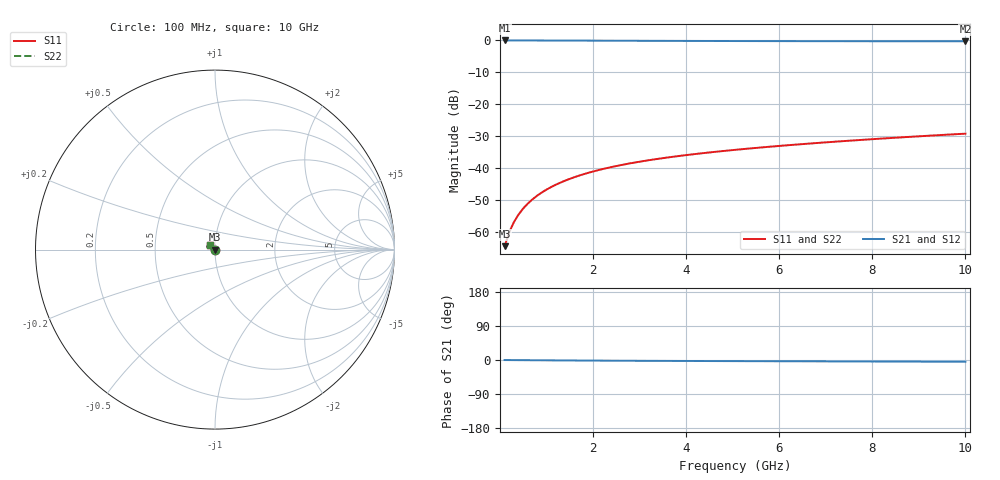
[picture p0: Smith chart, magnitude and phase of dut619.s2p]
! Touchstone file exported from HFSS 2024.1.0
!  File:  C:/UserFiles/LocalFiles/RDL_TSV_Batchsim/temp_TSV1_619_1779788965.aedt
!  Generated:  05:57:04 PM May 26, 2026
!  Design:  TSV1
!  Project:  temp_TSV1_619_1779788965
!  Setup:  Setup1
!  Solution:  Sweep
! Variables:
!  dtsv = 5.62um
!  hbump = 3um
!  htsv = 65.13um
!  lrdl = 252.1521522um
!  p = 40
!  p1 = 52.5um
!  t = 500um
!  trdl = 3um
!  wrdl = 24.89489489um
# GHz S MA R 50.000000
! Terminal data exported
! Port[1] = TSV22_T1
! Port[2] = TSV22_T2
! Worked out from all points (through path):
!   100 points, 100 MHz to 10 GHz, reference 50 ohm
!   highest |S21| = 0.00 dB at 100 MHz (marker M1); lowest = -0.3 dB at 10 GHz (marker M2)
!   lowest |S11| = -64.4 dB at 100 MHz (marker M3), VSWR 1.00, Z = 50 - j0.0479 ohm
!   |S11| at or under -10 dB: start of sweep to end of sweep
!   |S22| runs from -64.4 to -29.2 dB; largest |S21 - S12| = 2.3e-15
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0.1  0.0006044 -52.3  0.9996 -0.1  0.9996 -0.1  0.0006044 -52.3
! Gamma 0 0 0 0
! Port Impedance 50 0 50 0
0.2  0.001002 -72.5  0.9995 -0.2  0.9995 -0.2  0.001002 -72.5
0.3  0.001441 -82.4  0.9994 -0.3  0.9994 -0.3  0.001441 -82.4
0.4  0.001894 -88.8  0.9992 -0.4  0.9992 -0.4  0.001894 -88.8
0.5  0.002352 -93.6  0.999 -0.4  0.999 -0.4  0.002352 -93.6
0.6  0.002813 -97.7  0.9988 -0.5  0.9988 -0.5  0.002813 -97.7
0.7  0.003273 -101.3  0.9985 -0.6  0.9985 -0.6  0.003273 -101.3
0.8  0.003731 -104.5  0.9982 -0.7  0.9982 -0.7  0.003731 -104.5
0.9  0.004186 -107.6  0.9979 -0.8  0.9979 -0.8  0.004186 -107.6
1.1  0.005086 -113.2  0.9971 -0.9  0.9971 -0.9  0.005086 -113.2
1.4  0.006403 -121.1  0.9958 -1.2  0.9958 -1.2  0.006403 -121.1
1.6  0.007256 -125.9  0.9948 -1.3  0.9948 -1.3  0.007256 -125.9
1.8  0.008088 -130.6  0.9938 -1.4  0.9938 -1.4  0.008088 -130.6
2.1  0.009298 -137.2  0.9922 -1.6  0.9922 -1.6  0.009298 -137.2
2.5  0.01084 -145.5  0.99 -1.9  0.99 -1.9  0.01084 -145.5
2.9  0.01231 -153.1  0.9879 -2.1  0.9879 -2.1  0.01231 -153.1
3.4  0.01406 -161.7  0.9854 -2.3  0.9854 -2.3  0.01406 -161.7
4.2  0.01672 -173.8  0.9819 -2.6  0.9819 -2.6  0.01672 -173.8
5.1  0.01958 174.8  0.9786 -3.0  0.9786 -3.0  0.01958 174.8
6.7  0.02452 159.2  0.9744 -3.5  0.9744 -3.5  0.02452 159.2
8.4  0.02976 147.0  0.9714 -4.1  0.9714 -4.1  0.02976 147.0
10  0.03479 138.3  0.9693 -4.6  0.9693 -4.6  0.03479 138.3
